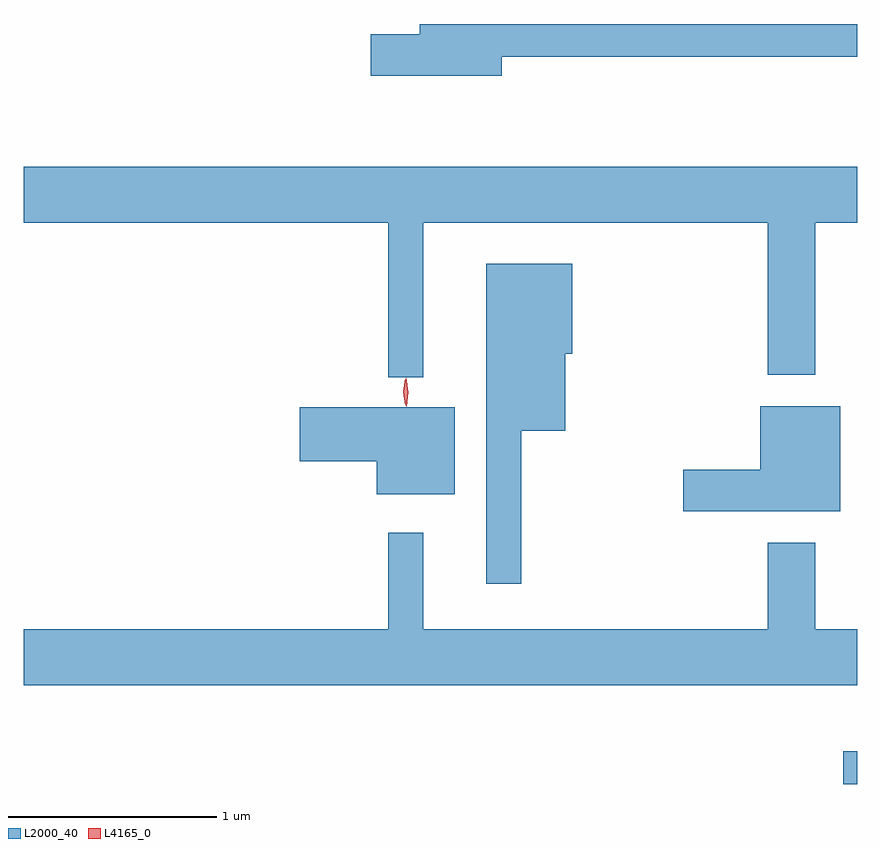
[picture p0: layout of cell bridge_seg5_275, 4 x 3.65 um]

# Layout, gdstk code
import gdstk
lib = gdstk.Library(unit=1e-6, precision=1e-09)
def R(c, l, rs):  # rectangles x0, y0, x1, y1
    for r in rs: c.add(gdstk.rectangle(r[:2], r[2:], *l))
def P(c, l, *ps):  # polygons
    for p in ps: c.add(gdstk.Polygon(p, *l))
L2000_40 = (2000, 40)
L4165_0 = (4165, 0)

bridge_seg5_275 = lib.new_cell('bridge_seg5_275')
R(bridge_seg5_275, L2000_40, [(779.933,1494.061,780.001,1494.219)])
P(bridge_seg5_275, L2000_40, [(778.294,1497.551),(780.001,1497.551),(780.001,1497.709),(777.901,1497.709),(777.901,1497.659),(777.666,1497.659),(777.666,1497.461),(778.294,1497.461)],
  [(776.001,1496.756),(777.751,1496.756),(777.751,1496.013),(777.919,1496.013),(777.919,1496.756),(779.571,1496.756),(779.571,1496.026),(779.799,1496.026),(779.799,1496.756),(780.001,1496.756),(780.001,1497.024),(776.001,1497.024)],
  [(778.389,1495.756),(778.599,1495.756),(778.599,1496.126),(778.634,1496.126),(778.634,1496.559),(778.221,1496.559),(778.221,1495.023),(778.389,1495.023)],
  [(779.919,1495.874),(779.536,1495.874),(779.536,1495.569),(779.166,1495.569),(779.166,1495.371),(779.919,1495.371)],
  [(778.069,1495.869),(777.326,1495.869),(777.326,1495.611),(777.696,1495.611),(777.696,1495.451),(778.069,1495.451)],
  [(780.001,1494.804),(779.799,1494.804),(779.799,1495.219),(779.571,1495.219),(779.571,1494.804),(777.919,1494.804),(777.919,1495.268),(777.751,1495.268),(777.751,1494.804),(776.001,1494.804),(776.001,1494.536),(780.001,1494.536)])
P(bridge_seg5_275, L4165_0, [(777.831,1495.88),(777.822,1495.944),(777.831,1496.006),(777.832,1496.007),(777.832,1496.006),(777.842,1495.944),(777.832,1495.88),(777.832,1495.88)],
  [(777.837,1495.874),(777.837,1495.874),(777.827,1495.942),(777.836,1496.01),(777.837,1496.01),(777.837,1496.01),(777.847,1495.942),(777.838,1495.874)])

lib.write_gds('bridge_seg5_275.gds')
